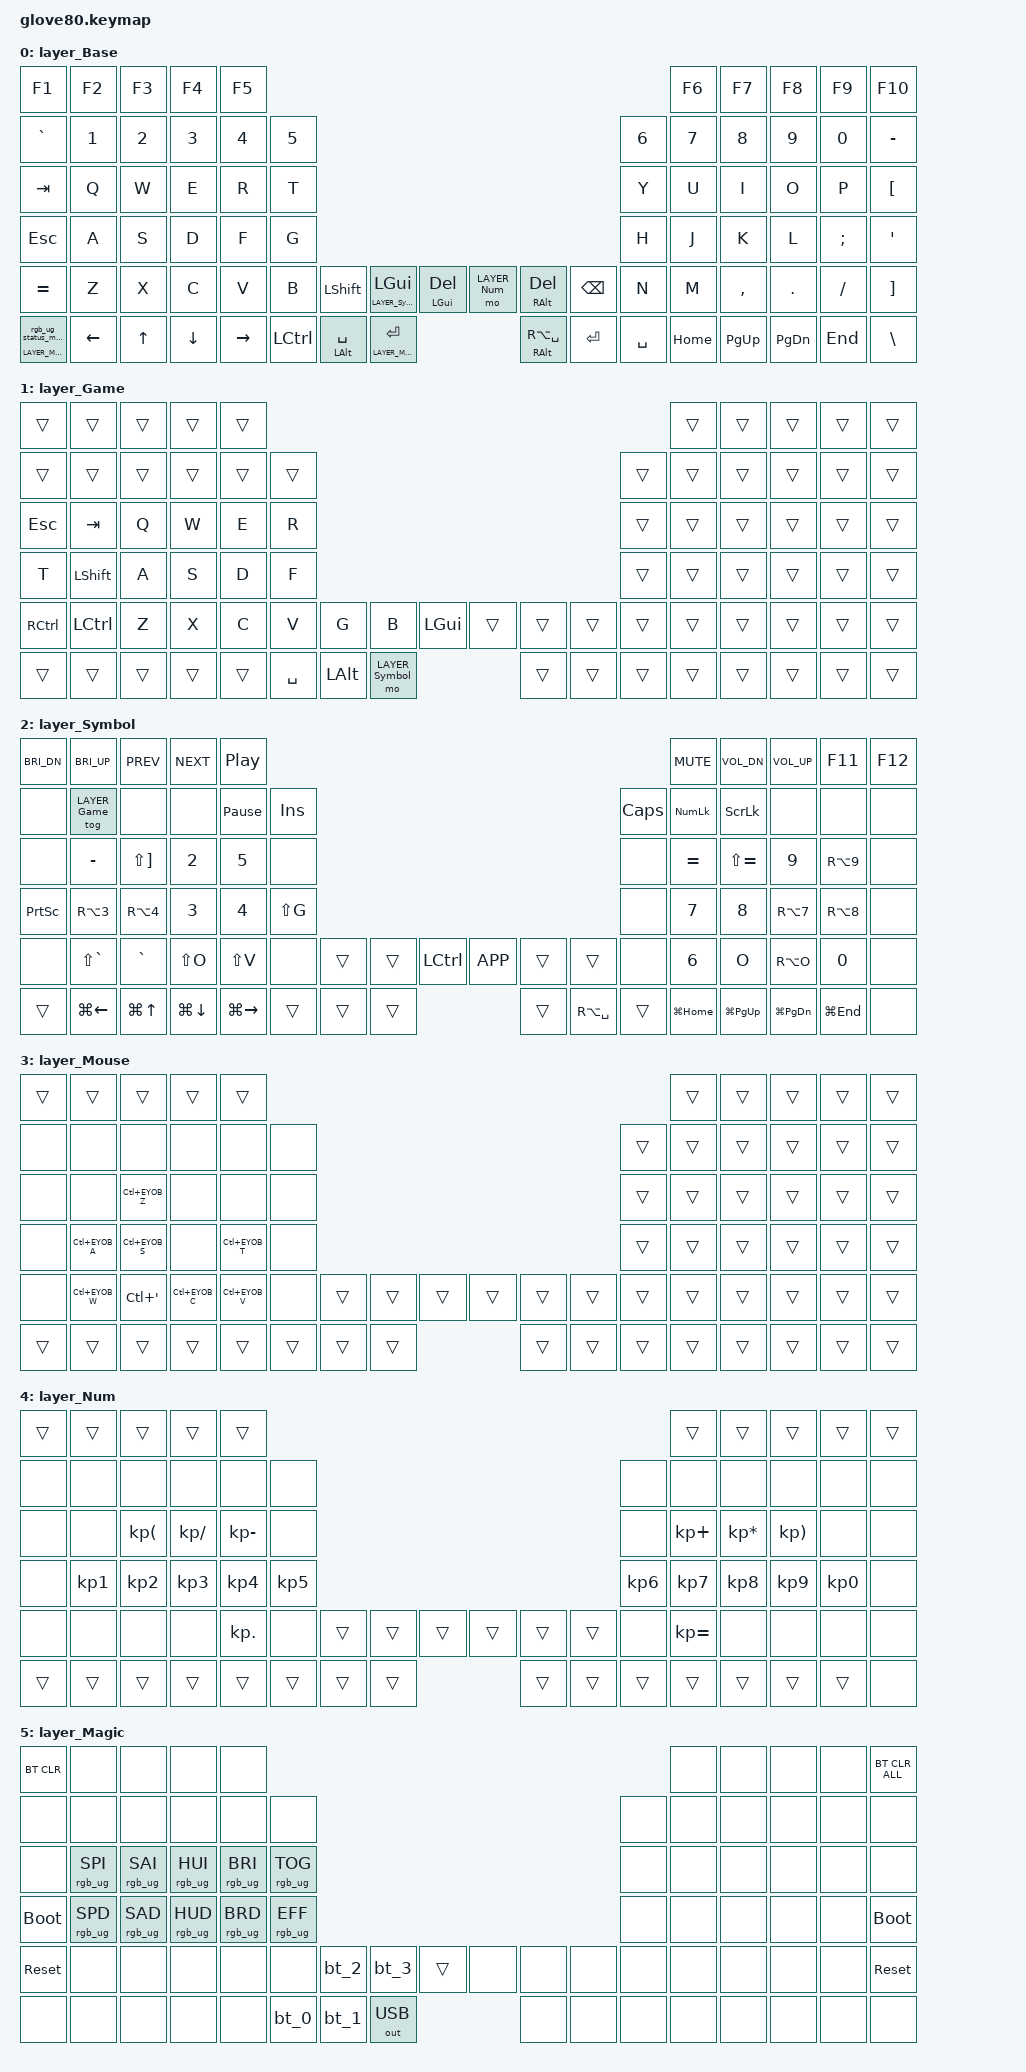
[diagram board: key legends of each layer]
#include <behaviors.dtsi>

/* includes */
#include <dt-bindings/zmk/outputs.h>
#include <dt-bindings/zmk/keys.h>
#include <dt-bindings/zmk/bt.h>
#include <dt-bindings/zmk/rgb.h>

/* layers */
#define LAYER_Base 0
#define LAYER_Game 1
#define LAYER_Symbol 2
#define LAYER_Mouse 3
#define LAYER_Num 4
#define LAYER_Magic 5

/* positions */
#define POS_LH_T1 52
#define POS_LH_T2 53
#define POS_LH_T3 54
#define POS_LH_T4 69
#define POS_LH_T5 70
#define POS_LH_T6 71
#define POS_LH_C1R2 15
#define POS_LH_C1R3 27
#define POS_LH_C1R4 39
#define POS_LH_C1R5 51
#define POS_LH_C2R1 4
#define POS_LH_C2R2 14
#define POS_LH_C2R3 26
#define POS_LH_C2R4 38
#define POS_LH_C2R5 50
#define POS_LH_C2R6 68
#define POS_LH_C3R1 3
#define POS_LH_C3R2 13
#define POS_LH_C3R3 25
#define POS_LH_C3R4 37
#define POS_LH_C3R5 49
#define POS_LH_C3R6 67
#define POS_LH_C4R1 2
#define POS_LH_C4R2 12
#define POS_LH_C4R3 24
#define POS_LH_C4R4 36
#define POS_LH_C4R5 48
#define POS_LH_C4R6 66
#define POS_LH_C5R1 1
#define POS_LH_C5R2 11
#define POS_LH_C5R3 23
#define POS_LH_C5R4 35
#define POS_LH_C5R5 47
#define POS_LH_C5R6 65
#define POS_LH_C6R1 0
#define POS_LH_C6R2 10
#define POS_LH_C6R3 22
#define POS_LH_C6R4 34
#define POS_LH_C6R5 46
#define POS_LH_C6R6 64
#define POS_RH_T1 57
#define POS_RH_T2 56
#define POS_RH_T3 55
#define POS_RH_T4 74
#define POS_RH_T5 73
#define POS_RH_T6 72
#define POS_RH_C1R2 16
#define POS_RH_C1R3 28
#define POS_RH_C1R4 40
#define POS_RH_C1R5 58
#define POS_RH_C2R1 5
#define POS_RH_C2R2 17
#define POS_RH_C2R3 29
#define POS_RH_C2R4 41
#define POS_RH_C2R5 59
#define POS_RH_C2R6 75
#define POS_RH_C3R1 6
#define POS_RH_C3R2 18
#define POS_RH_C3R3 30
#define POS_RH_C3R4 42
#define POS_RH_C3R5 60
#define POS_RH_C3R6 76
#define POS_RH_C4R1 7
#define POS_RH_C4R2 19
#define POS_RH_C4R3 31
#define POS_RH_C4R4 43
#define POS_RH_C4R5 61
#define POS_RH_C4R6 77
#define POS_RH_C5R1 8
#define POS_RH_C5R2 20
#define POS_RH_C5R3 32
#define POS_RH_C5R4 44
#define POS_RH_C5R5 62
#define POS_RH_C5R6 78
#define POS_RH_C6R1 9
#define POS_RH_C6R2 21
#define POS_RH_C6R3 33
#define POS_RH_C6R4 45
#define POS_RH_C6R5 63
#define POS_RH_C6R6 79

/* éyob */
#define EYOB_DOLLAR GRAVE
#define EYOB_PLUS_N1 N1
#define EYOB_EQUAL_N2 N2
#define EYOB_LBRACE_N3 N3
#define EYOB_LPAR_N4 N4
#define EYOB_MINUS_N5 N5
#define EYOB_DBQUOTE_N6 N6
#define EYOB_RPAR_N7 N7
#define EYOB_RBRACE_N8 N8
#define EYOB_SLASH_N9 N9
#define EYOB_STAR_N0 N0
#define EYOB_AT MINUS
#define EYOB_ampersand EQUAL

#define EYOB_EACUTE Q
#define EYOB_Y W
#define EYOB_O E
#define EYOB_B R
#define EYOB_W T
#define EYOB_F Y
#define EYOB_D U
#define EYOB_L I
#define EYOB_quote O
#define EYOB_V P
#define EYOB_Z LBKT
#define EYOB_circumflex RBKT

#define EYOB_A A
#define EYOB_I S
#define EYOB_E D
#define EYOB_U F
#define EYOB_comma G
#define EYOB_P H
#define EYOB_S J
#define EYOB_T K
#define EYOB_R L
#define EYOB_N SEMI
#define EYOB_X SQT
#define EYOB_ccedilla BSLH

#define EYOB_AGRAVE Z
#define EYOB_J X
#define EYOB_EGRAVE C
#define EYOB_dot V
#define EYOB_K B
#define EYOB_G N
#define EYOB_C M
#define EYOB_M COMMA
#define EYOB_H DOT
#define EYOB_Q FSLH

/* magic */
/ {
    macros {
        rgb_ug_status_macro: rgb_ug_status_macro {
            compatible = "zmk,behavior-macro";
            #binding-cells = <0>;
            bindings = <&rgb_ug RGB_STATUS>;
        };

        magic: magic {
            compatible = "zmk,behavior-hold-tap";
            #binding-cells = <2>;
            flavor = "tap-preferred";
            tapping-term-ms = <200>;
            bindings = <&mo>, <&rgb_ug_status_macro>;
        };
    };
};

 /* behaviors */
/ {
    behaviors {
        lthold: layer_tap_hold {
            compatible = "zmk,behavior-hold-tap";
            bindings = <&mo>, <&kp>;
            #binding-cells = <2>;
            tapping-term-ms = <200>;
        };
    };
};

/* bluetooth */
/ {
#ifdef BT_DISC_CMD
    behaviors {
        bt_0: bt_0 {
            compatible = "zmk,behavior-tap-dance";
            #binding-cells = <0>;
            tapping-term-ms = <200>;
            bindings = <&bt_select_0>, <&bt BT_DISC 0>;
        };
        bt_1: bt_1 {
            compatible = "zmk,behavior-tap-dance";
            #binding-cells = <0>;
            tapping-term-ms = <200>;
            bindings = <&bt_select_1>, <&bt BT_DISC 1>;
        };
        bt_2: bt_2 {
            compatible = "zmk,behavior-tap-dance";
            #binding-cells = <0>;
            tapping-term-ms = <200>;
            bindings = <&bt_select_2>, <&bt BT_DISC 2>;
        };
        bt_3: bt_3 {
            compatible = "zmk,behavior-tap-dance";
            #binding-cells = <0>;
            tapping-term-ms = <200>;
            bindings = <&bt_select_3>, <&bt BT_DISC 3>;
        };
    };

    macros {
        bt_select_0: bt_select_0 {
            compatible = "zmk,behavior-macro";
            #binding-cells = <0>;
            bindings
                = <&out OUT_BLE>,
                  <&bt BT_SEL 0>;
        };
        bt_select_1: bt_select_1 {
            compatible = "zmk,behavior-macro";
            #binding-cells = <0>;
            bindings
                = <&out OUT_BLE>,
                  <&bt BT_SEL 1>;
        };
        bt_select_2: bt_select_2 {
            compatible = "zmk,behavior-macro";
            #binding-cells = <0>;
            bindings
                = <&out OUT_BLE>,
                  <&bt BT_SEL 2>;
        };
        bt_select_3: bt_select_3 {
            compatible = "zmk,behavior-macro";
            #binding-cells = <0>;
            bindings
                = <&out OUT_BLE>,
                  <&bt BT_SEL 3>;
        };
    };
#else
    macros {
        bt_0: bt_0 {
            compatible = "zmk,behavior-macro";
            #binding-cells = <0>;
            bindings
                = <&out OUT_BLE>,
                  <&bt BT_SEL 0>;
        };
        bt_1: bt_1 {
            label = "BT_1";
            compatible = "zmk,behavior-macro";
            #binding-cells = <0>;
            bindings
                = <&out OUT_BLE>,
                  <&bt BT_SEL 1>;
        };
        bt_2: bt_2 {
            label = "BT_2";
            compatible = "zmk,behavior-macro";
            #binding-cells = <0>;
            bindings
                = <&out OUT_BLE>,
                  <&bt BT_SEL 2>;
        };
        bt_3: bt_3 {
            label = "BT_3";
            compatible = "zmk,behavior-macro";
            #binding-cells = <0>;
            bindings
                = <&out OUT_BLE>,
                  <&bt BT_SEL 3>;
        };
    };
#endif
};

/ {
    keymap {
        compatible = "zmk,keymap";

        layer_Base {
            bindings = <
                &kp F1                 &kp F2            &kp F3              &kp F4               &kp F5                                                                                                                                                                             &kp F6             &kp F7               &kp F8              &kp F9             &kp F10
                &kp EYOB_DOLLAR        &kp EYOB_PLUS_N1  &kp EYOB_EQUAL_N2   &kp EYOB_LBRACE_N3   &kp EYOB_LPAR_N4   &kp EYOB_MINUS_N5                                                                                                                         &kp EYOB_DBQUOTE_N6   &kp EYOB_RPAR_N7   &kp EYOB_RBRACE_N8   &kp EYOB_SLASH_N9   &kp EYOB_STAR_N0   &kp EYOB_AT
                &kp TAB                &kp EYOB_EACUTE   &kp EYOB_Y          &kp EYOB_O           &kp EYOB_B         &kp EYOB_W                                                                                                                                &kp EYOB_F            &kp EYOB_D         &kp EYOB_L           &kp EYOB_quote      &kp EYOB_V         &kp EYOB_Z
                &kp ESC                &kp EYOB_A        &kp EYOB_I          &kp EYOB_E           &kp EYOB_U         &kp EYOB_comma                                                                                                                            &kp EYOB_P            &kp EYOB_S         &kp EYOB_T           &kp EYOB_R          &kp EYOB_N         &kp EYOB_X
                &kp EQUAL              &kp EYOB_AGRAVE   &kp EYOB_J          &kp EYOB_EGRAVE      &kp EYOB_dot       &kp EYOB_K       &kp LSHFT   &lthold LAYER_Symbol LGUI   &mt LGUI DEL                    &mo LAYER_Num         &mt RALT DEL   &kp BSPC    &kp EYOB_G            &kp EYOB_C         &kp EYOB_M           &kp EYOB_H          &kp EYOB_Q         &kp EYOB_circumflex
                &magic LAYER_Magic 0   &kp LEFT          &kp UP              &kp DOWN             &kp RIGHT                           &kp LCTRL   &mt LALT SPACE             &lthold LAYER_Mouse ENTER        &mt RALT RA(SPACE)    &kp RET        &kp SPACE                         &kp HOME           &kp PG_UP            &kp PG_DN           &kp END            &kp EYOB_ccedilla
            >;
        };

        layer_Game {
            bindings = <
                &trans      &trans      &trans   &trans   &trans                                                                                                     &trans   &trans   &trans   &trans   &trans
                &trans      &trans      &trans   &trans   &trans   &trans                                                                                  &trans    &trans   &trans   &trans   &trans   &trans
                &kp ESC     &kp TAB     &kp Q    &kp W    &kp E    &kp R                                                                                   &trans    &trans   &trans   &trans   &trans   &trans
                &kp T       &kp LSHFT   &kp A    &kp S    &kp D    &kp F                                                                                   &trans    &trans   &trans   &trans   &trans   &trans
                &kp RCTRL   &kp LCTRL   &kp Z    &kp X    &kp C    &kp V    &kp G       &kp B      &kp LGUI                     &trans   &trans   &trans   &trans    &trans   &trans   &trans   &trans   &trans
                &trans      &trans      &trans   &trans   &trans            &kp SPACE   &kp LALT   &mo LAYER_Symbol             &trans   &trans   &trans             &trans   &trans   &trans   &trans   &trans
            >;
        };

        layer_Symbol {
            bindings = <
                &kp C_BRI_DN   &kp C_BRI_UP      &kp C_PREV     &kp C_NEXT     &kp C_PP                                                                                                             &kp C_MUTE     &kp C_VOL_DN    &kp C_VOL_UP    &kp F11      &kp F12
                &none          &tog LAYER_Game   &none          &none          &kp PAUSE_BREAK   &kp INS                                                                               &kp CAPS     &kp KP_NUM     &kp SLCK        &none           &none        &none
                &none          &kp MINUS         &kp LS(RBKT)   &kp N2         &kp N5            &none                                                                                 &none        &kp EQUAL      &kp LS(EQUAL)   &kp N9          &kp RA(N9)   &none
                &kp PSCRN      &kp RA(N3)        &kp RA(N4)     &kp N3         &kp N4            &kp LS(G)                                                                             &none        &kp N7         &kp N8          &kp RA(N7)      &kp RA(N8)   &none
                &none          &kp LS(GRAVE)     &kp GRAVE      &kp LS(O)      &kp LS(V)         &none       &trans   &trans   &kp LCTRL         &kp K_APP   &trans         &trans     &none        &kp N6         &kp O           &kp RA(O)       &kp N0       &none
                &trans         &kp LG(LEFT)      &kp LG(UP)     &kp LG(DOWN)   &kp LG(RIGHT)                 &trans   &trans   &trans            &trans      &kp RA(SPACE)  &trans                  &kp LG(HOME)   &kp LG(PG_UP)   &kp LG(PG_DN)   &kp LG(END)  &none
            >;
        };

        layer_Mouse {
            bindings = <
                &trans   &trans           &trans           &trans           &trans                                                                                        &trans   &trans   &trans   &trans   &trans
                &none    &none            &none            &none            &none            &none                                                              &trans    &trans   &trans   &trans   &trans   &trans
                &none    &none            &kp LC(EYOB_Z)   &none            &none            &none                                                              &trans    &trans   &trans   &trans   &trans   &trans
                &none    &kp LC(EYOB_A)   &kp LC(EYOB_S)   &none            &kp LC(EYOB_T)   &none                                                              &trans    &trans   &trans   &trans   &trans   &trans
                &none    &kp LC(EYOB_W)   &kp LC(SQT)      &kp LC(EYOB_C)   &kp LC(EYOB_V)   &none   &trans  &trans  &trans          &trans   &trans   &trans   &trans    &trans   &trans   &trans   &trans   &trans
                &trans   &trans           &trans           &trans           &trans                   &trans  &trans  &trans          &trans   &trans   &trans             &trans   &trans   &trans   &trans   &trans
            >;
        };

        layer_Num {
            bindings = <
                &trans   &trans      &trans         &trans          &trans                                                                                            &trans         &trans            &trans         &trans         &trans
                &none    &none       &none          &none           &none          &none                                                                 &none        &none          &none             &none          &none          &none
                &none    &none       &kp KP_LPAR    &kp KP_SLASH    &kp KP_MINUS   &none                                                                 &none        &kp KP_PLUS    &kp KP_MULTIPLY   &kp KP_RPAR    &none          &none
                &none    &kp KP_N1   &kp KP_N2      &kp KP_N3       &kp KP_N4      &kp KP_N5                                                             &kp KP_N6    &kp KP_N7      &kp KP_N8         &kp KP_N9      &kp KP_N0      &none
                &none    &none       &none          &none           &kp KP_DOT     &none       &trans  &trans  &trans         &trans   &trans   &trans   &none   &kp KP_EQUAL   &none             &none          &none          &none
                &trans   &trans      &trans         &trans          &trans                     &trans  &trans  &trans         &trans   &trans   &trans                &trans         &trans            &trans         &trans         &none
            >;
        };

        layer_Magic {
            bindings = <
                &bt BT_CLR    &none             &none             &none             &none                                                                                                    &none   &none   &none   &none   &bt BT_CLR_ALL
                &none         &none             &none             &none             &none             &none                                                                          &none   &none   &none   &none   &none   &none
                &none         &rgb_ug RGB_SPI   &rgb_ug RGB_SAI   &rgb_ug RGB_HUI   &rgb_ug RGB_BRI   &rgb_ug RGB_TOG                                                                &none   &none   &none   &none   &none   &none
                &bootloader   &rgb_ug RGB_SPD   &rgb_ug RGB_SAD   &rgb_ug RGB_HUD   &rgb_ug RGB_BRD   &rgb_ug RGB_EFF                                                                &none   &none   &none   &none   &none   &bootloader
                &sys_reset    &none             &none             &none             &none             &none             &bt_2   &bt_3   &trans               &none   &none   &none   &none   &none   &none   &none   &none   &sys_reset
                &none         &none             &none             &none             &none                               &bt_0   &bt_1   &out OUT_USB         &none   &none   &none           &none   &none   &none   &none   &none
            >;
        };

    };
};
